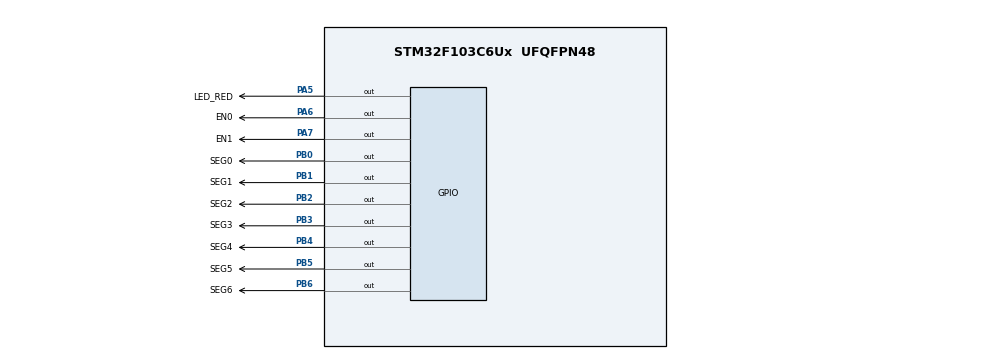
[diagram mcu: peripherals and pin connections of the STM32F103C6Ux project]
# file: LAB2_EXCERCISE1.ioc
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Mcu.Family=STM32F1
Mcu.Name=STM32F103C6Ux
Mcu.Package=UFQFPN48
NVIC.PriorityGroup=NVIC_PRIORITYGROUP_4
NVIC.TIM2_IRQn=true\:0\:0\:false\:false\:true\:true\:true
PA5.GPIO_Label=LED_RED
PA5.Signal=GPIO_Output
PA6.GPIO_Label=EN0
PA6.Signal=GPIO_Output
PA7.GPIO_Label=EN1
PA7.Signal=GPIO_Output
PB0.GPIO_Label=SEG0
PB0.Signal=GPIO_Output
PB1.GPIO_Label=SEG1
PB1.Signal=GPIO_Output
PB2.GPIO_Label=SEG2
PB2.Signal=GPIO_Output
PB3.GPIO_Label=SEG3
PB3.Signal=GPIO_Output
PB4.GPIO_Label=SEG4
PB4.Signal=GPIO_Output
PB5.GPIO_Label=SEG5
PB5.Signal=GPIO_Output
PB6.GPIO_Label=SEG6
PB6.Signal=GPIO_Output
ProjectManager.HeapSize=0x200
ProjectManager.StackSize=0x400
ProjectManager.TargetToolchain=STM32CubeIDE
RCC.APB1Freq_Value=8000000
RCC.APB2Freq_Value=8000000
TIM2.Period=9
TIM2.Prescaler=7999
VP_SYS_VS_ND.Mode=No_Debug
VP_TIM2_VS_ClockSourceINT.Mode=Internal
board=custom

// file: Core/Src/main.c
/* USER CODE BEGIN Header */
/**
  ******************************************************************************
  * @file           : main.c
  * @brief          : Main program body
  ******************************************************************************
  * @attention
  *
  * <h2><center>&copy; Copyright (c) 2025 STMicroelectronics.
  * All rights reserved.</center></h2>
  *
  * This software component is licensed by ST under BSD 3-Clause license,
  * the "License"; You may not use this file except in compliance with the
  * License. You may obtain a copy of the License at:
  *                        opensource.org/licenses/BSD-3-Clause
  *
  ******************************************************************************
  */
/* USER CODE END Header */
#include "main.h"

/* USER CODE BEGIN Includes */
//#include "software_timer.h"
/* USER CODE END Includes */

TIM_HandleTypeDef htim2;

/* USER CODE BEGIN PV */

GPIO_TypeDef* SEG_PORT = GPIOB;
uint16_t SEG_PINS[7] = { SEG0_Pin,SEG1_Pin,SEG2_Pin,SEG3_Pin
        ,SEG4_Pin,SEG5_Pin,SEG6_Pin};

uint8_t segment_code[10][7] = {
    // a  b  c  d  e  f  g
    {0, 0, 0, 0, 0, 0, 1}, // 0
    {1, 0, 0, 1, 1, 1, 1}, // 1
    {0, 0, 1, 0, 0, 1, 0}, // 2
    {0, 0, 0, 0, 1, 1, 0}, // 3
    {1, 0, 0, 1, 1, 0, 0}, // 4
    {0, 1, 0, 0, 1, 0, 0}, // 5
    {0, 1, 0, 0, 0, 0, 0}, // 6
    {0, 0, 0, 1, 1, 1, 1}, // 7
    {0, 0, 0, 0, 0, 0, 0}, // 8
    {0, 0, 0, 0, 1, 0, 0}  // 9
};

void display7SEG(int num) {
    switch (num) {
        case 0: // hiển thị số 0
            HAL_GPIO_WritePin(GPIOB, SEG0_Pin, RESET);
            HAL_GPIO_WritePin(GPIOB, SEG1_Pin, RESET);
            HAL_GPIO_WritePin(GPIOB, SEG2_Pin, RESET);
            HAL_GPIO_WritePin(GPIOB, SEG3_Pin, RESET);
            HAL_GPIO_WritePin(GPIOB, SEG4_Pin, RESET);
            HAL_GPIO_WritePin(GPIOB, SEG5_Pin, RESET);
            HAL_GPIO_WritePin(GPIOB, SEG6_Pin, SET);  // g = off
            break;

        case 1:
            HAL_GPIO_WritePin(GPIOB, SEG0_Pin, SET);
            HAL_GPIO_WritePin(GPIOB, SEG1_Pin, RESET);
            HAL_GPIO_WritePin(GPIOB, SEG2_Pin, RESET);
            HAL_GPIO_WritePin(GPIOB, SEG3_Pin, SET);
            HAL_GPIO_WritePin(GPIOB, SEG4_Pin, SET);
            HAL_GPIO_WritePin(GPIOB, SEG5_Pin, SET);
            HAL_GPIO_WritePin(GPIOB, SEG6_Pin, SET);
            break;

        case 2:
            HAL_GPIO_WritePin(GPIOB, SEG0_Pin, RESET);
            HAL_GPIO_WritePin(GPIOB, SEG1_Pin, RESET);
            HAL_GPIO_WritePin(GPIOB, SEG2_Pin, SET);
            HAL_GPIO_WritePin(GPIOB, SEG3_Pin, RESET);
            HAL_GPIO_WritePin(GPIOB, SEG4_Pin, RESET);
            HAL_GPIO_WritePin(GPIOB, SEG5_Pin, SET);
            HAL_GPIO_WritePin(GPIOB, SEG6_Pin, RESET);
            break;

        case 3:
            HAL_GPIO_WritePin(GPIOB, SEG0_Pin, RESET);
            HAL_GPIO_WritePin(GPIOB, SEG1_Pin, RESET);
            HAL_GPIO_WritePin(GPIOB, SEG2_Pin, RESET);
            HAL_GPIO_WritePin(GPIOB, SEG3_Pin, RESET);
            HAL_GPIO_WritePin(GPIOB, SEG4_Pin, SET);
            HAL_GPIO_WritePin(GPIOB, SEG5_Pin, SET);
            HAL_GPIO_WritePin(GPIOB, SEG6_Pin, RESET);
            break;

        case 4:
            HAL_GPIO_WritePin(GPIOB, SEG0_Pin, SET);
            HAL_GPIO_WritePin(GPIOB, SEG1_Pin, RESET);
            HAL_GPIO_WritePin(GPIOB, SEG2_Pin, RESET);
            HAL_GPIO_WritePin(GPIOB, SEG3_Pin, SET);
            HAL_GPIO_WritePin(GPIOB, SEG4_Pin, SET);
            HAL_GPIO_WritePin(GPIOB, SEG5_Pin, RESET);
            HAL_GPIO_WritePin(GPIOB, SEG6_Pin, RESET);
            break;

        case 5:
            HAL_GPIO_WritePin(GPIOB, SEG0_Pin, RESET);
            HAL_GPIO_WritePin(GPIOB, SEG1_Pin, SET);
            HAL_GPIO_WritePin(GPIOB, SEG2_Pin, RESET);
            HAL_GPIO_WritePin(GPIOB, SEG3_Pin, RESET);
            HAL_GPIO_WritePin(GPIOB, SEG4_Pin, SET);
            HAL_GPIO_WritePin(GPIOB, SEG5_Pin, RESET);
            HAL_GPIO_WritePin(GPIOB, SEG6_Pin, RESET);
            break;

        case 6:
            HAL_GPIO_WritePin(GPIOB, SEG0_Pin, RESET);
            HAL_GPIO_WritePin(GPIOB, SEG1_Pin, SET);
            HAL_GPIO_WritePin(GPIOB, SEG2_Pin, RESET);
            HAL_GPIO_WritePin(GPIOB, SEG3_Pin, RESET);
            HAL_GPIO_WritePin(GPIOB, SEG4_Pin, RESET);
            HAL_GPIO_WritePin(GPIOB, SEG5_Pin, RESET);
            HAL_GPIO_WritePin(GPIOB, SEG6_Pin, RESET);
            break;

        case 7:
            HAL_GPIO_WritePin(GPIOB, SEG0_Pin, RESET);
            HAL_GPIO_WritePin(GPIOB, SEG1_Pin, RESET);
            HAL_GPIO_WritePin(GPIOB, SEG2_Pin, RESET);
            HAL_GPIO_WritePin(GPIOB, SEG3_Pin, SET);
            HAL_GPIO_WritePin(GPIOB, SEG4_Pin, SET);
            HAL_GPIO_WritePin(GPIOB, SEG5_Pin, SET);
            HAL_GPIO_WritePin(GPIOB, SEG6_Pin, SET);
            break;

        case 8:
            HAL_GPIO_WritePin(GPIOB, SEG0_Pin, RESET);
            HAL_GPIO_WritePin(GPIOB, SEG1_Pin, RESET);
            HAL_GPIO_WritePin(GPIOB, SEG2_Pin, RESET);
            HAL_GPIO_WritePin(GPIOB, SEG3_Pin, RESET);
            HAL_GPIO_WritePin(GPIOB, SEG4_Pin, RESET);
            HAL_GPIO_WritePin(GPIOB, SEG5_Pin, RESET);
            HAL_GPIO_WritePin(GPIOB, SEG6_Pin, RESET);
            break;

        case 9:
            HAL_GPIO_WritePin(GPIOB, SEG0_Pin, RESET);
            HAL_GPIO_WritePin(GPIOB, SEG1_Pin, RESET);
            HAL_GPIO_WritePin(GPIOB, SEG2_Pin, RESET);
            HAL_GPIO_WritePin(GPIOB, SEG3_Pin, RESET);
            HAL_GPIO_WritePin(GPIOB, SEG4_Pin, SET);
            HAL_GPIO_WritePin(GPIOB, SEG5_Pin, RESET);
            HAL_GPIO_WritePin(GPIOB, SEG6_Pin, RESET);
            break;

        default:
            HAL_GPIO_WritePin(GPIOB, SEG0_Pin|SEG1_Pin|SEG2_Pin|
                                       SEG3_Pin|SEG4_Pin|SEG5_Pin|SEG6_Pin, SET);
            break;
    }
}

/* USER CODE END PV */

void SystemClock_Config(void);
static void MX_GPIO_Init(void);
static void MX_TIM2_Init(void);

int main(void)
{

  /* MCU Configuration--------------------------------------------------------*/

  /* Reset of all peripherals, Initializes the Flash interface and the Systick. */
  HAL_Init();

  /* Configure the system clock */
  SystemClock_Config();

  /* Initialize all configured peripherals */
  MX_GPIO_Init();
  MX_TIM2_Init();
  /* USER CODE BEGIN 2 */
  HAL_TIM_Base_Start_IT(&htim2);
  /* USER CODE END 2 */

  /* Infinite loop */
  /* USER CODE BEGIN WHILE */

//setTimer1(13);
//setTimer2(63);

  while (1)
  {

    /* USER CODE END WHILE */

  }
}

void SystemClock_Config(void)
{
  RCC_OscInitTypeDef RCC_OscInitStruct = {0};
  RCC_ClkInitTypeDef RCC_ClkInitStruct = {0};

  /** Initializes the RCC Oscillators according to the specified parameters
  * in the RCC_OscInitTypeDef structure.
  */
  RCC_OscInitStruct.OscillatorType = RCC_OSCILLATORTYPE_HSI;
  RCC_OscInitStruct.HSIState = RCC_HSI_ON;
  RCC_OscInitStruct.HSICalibrationValue = RCC_HSICALIBRATION_DEFAULT;
  RCC_OscInitStruct.PLL.PLLState = RCC_PLL_NONE;
  if (HAL_RCC_OscConfig(&RCC_OscInitStruct) != HAL_OK)
  {
    Error_Handler();
  }
  /** Initializes the CPU, AHB and APB buses clocks
  */
  RCC_ClkInitStruct.ClockType = RCC_CLOCKTYPE_HCLK|RCC_CLOCKTYPE_SYSCLK
                              |RCC_CLOCKTYPE_PCLK1|RCC_CLOCKTYPE_PCLK2;
  RCC_ClkInitStruct.SYSCLKSource = RCC_SYSCLKSOURCE_HSI;
  RCC_ClkInitStruct.AHBCLKDivider = RCC_SYSCLK_DIV1;
  RCC_ClkInitStruct.APB1CLKDivider = RCC_HCLK_DIV1;
  RCC_ClkInitStruct.APB2CLKDivider = RCC_HCLK_DIV1;

  if (HAL_RCC_ClockConfig(&RCC_ClkInitStruct, FLASH_LATENCY_0) != HAL_OK)
  {
    Error_Handler();
  }
}

static void MX_TIM2_Init(void)
{

  TIM_ClockConfigTypeDef sClockSourceConfig = {0};
  TIM_MasterConfigTypeDef sMasterConfig = {0};

  htim2.Instance = TIM2;
  htim2.Init.Prescaler = 7999;
  htim2.Init.CounterMode = TIM_COUNTERMODE_UP;
  htim2.Init.Period = 9;
  htim2.Init.ClockDivision = TIM_CLOCKDIVISION_DIV1;
  htim2.Init.AutoReloadPreload = TIM_AUTORELOAD_PRELOAD_DISABLE;
  if (HAL_TIM_Base_Init(&htim2) != HAL_OK)
  {
    Error_Handler();
  }
  sClockSourceConfig.ClockSource = TIM_CLOCKSOURCE_INTERNAL;
  if (HAL_TIM_ConfigClockSource(&htim2, &sClockSourceConfig) != HAL_OK)
  {
    Error_Handler();
  }
  sMasterConfig.MasterOutputTrigger = TIM_TRGO_RESET;
  sMasterConfig.MasterSlaveMode = TIM_MASTERSLAVEMODE_DISABLE;
  if (HAL_TIMEx_MasterConfigSynchronization(&htim2, &sMasterConfig) != HAL_OK)
  {
    Error_Handler();
  }

}

static void MX_GPIO_Init(void)
{
  GPIO_InitTypeDef GPIO_InitStruct = {0};

  /* GPIO Ports Clock Enable */
  __HAL_RCC_GPIOA_CLK_ENABLE();
  __HAL_RCC_GPIOB_CLK_ENABLE();

  /*Configure GPIO pin Output Level */
  HAL_GPIO_WritePin(GPIOA, LED_RED_Pin|EN0_Pin|EN1_Pin, GPIO_PIN_RESET);

  /*Configure GPIO pin Output Level */
  HAL_GPIO_WritePin(GPIOB, SEG0_Pin|SEG1_Pin|SEG2_Pin|SEG3_Pin
                          |SEG4_Pin|SEG5_Pin|SEG6_Pin, GPIO_PIN_RESET);

  /*Configure GPIO pins : LED_RED_Pin EN0_Pin EN1_Pin */
  GPIO_InitStruct.Pin = LED_RED_Pin|EN0_Pin|EN1_Pin;
  GPIO_InitStruct.Mode = GPIO_MODE_OUTPUT_PP;
  GPIO_InitStruct.Pull = GPIO_NOPULL;
  GPIO_InitStruct.Speed = GPIO_SPEED_FREQ_LOW;
  HAL_GPIO_Init(GPIOA, &GPIO_InitStruct);

  /*Configure GPIO pins : SEG0_Pin SEG1_Pin SEG2_Pin SEG3_Pin
                           SEG4_Pin SEG5_Pin SEG6_Pin */
  GPIO_InitStruct.Pin = SEG0_Pin|SEG1_Pin|SEG2_Pin|SEG3_Pin
                          |SEG4_Pin|SEG5_Pin|SEG6_Pin;
  GPIO_InitStruct.Mode = GPIO_MODE_OUTPUT_PP;
  GPIO_InitStruct.Pull = GPIO_NOPULL;
  GPIO_InitStruct.Speed = GPIO_SPEED_FREQ_LOW;
  HAL_GPIO_Init(GPIOB, &GPIO_InitStruct);

}

/* USER CODE BEGIN 4 */
int counter1 = 100;
void HAL_TIM_PeriodElapsedCallback(TIM_HandleTypeDef * htim){
	if (counter1 > 0){
		counter1--;
		if (counter1 <= 0) counter1 = 100;
	}
	if (counter1 > 50){
		  HAL_GPIO_WritePin(GPIOA, EN0_Pin, RESET);
		  HAL_GPIO_WritePin(GPIOA, EN1_Pin, SET);
		  display7SEG(1);
	}
	if (counter1 <= 50){
		  HAL_GPIO_WritePin(GPIOA, EN0_Pin, SET);
		  HAL_GPIO_WritePin(GPIOA, EN1_Pin, RESET);
		  display7SEG(2);
		  HAL_GPIO_TogglePin(GPIOA, LED_RED_Pin);
	}

}
/* USER CODE END 4 */

void Error_Handler(void)
{
  __disable_irq();
  while (1)
  {
  }
}

/************************ (C) COPYRIGHT STMicroelectronics *****END OF FILE****/
